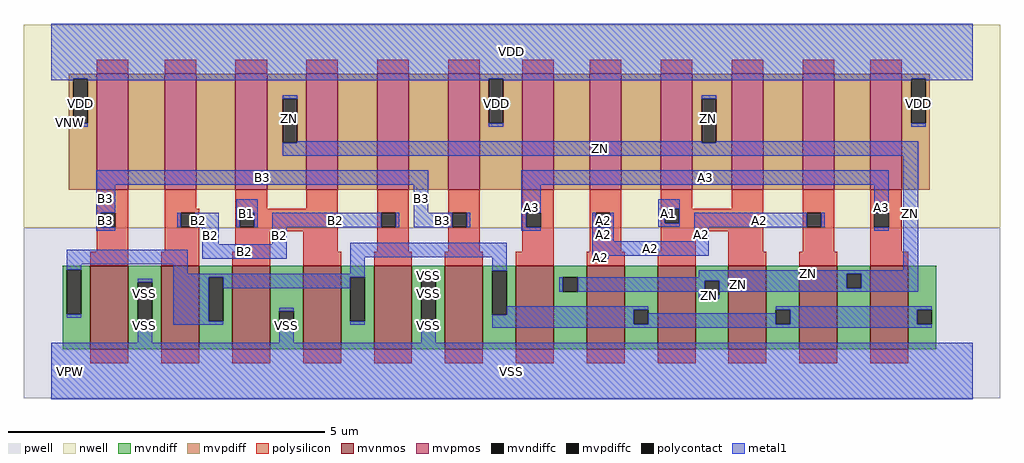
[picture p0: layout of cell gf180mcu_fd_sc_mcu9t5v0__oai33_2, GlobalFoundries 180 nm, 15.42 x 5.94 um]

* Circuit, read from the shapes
.subckt gf180mcu_fd_sc_mcu9t5v0__oai33_2 A1 A2 A3 B1 B2 B3 ZN VDD VNW VPW VSS
XM1 VSS B3 n1 VPW nfet_06v0 w=1.32u l=0.6u m=2
XM2 n1 B2 VSS VPW nfet_06v0 w=1.32u l=0.6u m=2
XM3 VSS B1 n1 VPW nfet_06v0 w=1.32u l=0.6u m=2
XM4 ZN A3 n1 VPW nfet_06v0 w=1.32u l=0.6u m=2
XM5 n1 A2 ZN VPW nfet_06v0 w=1.32u l=0.6u m=2
XM6 ZN A1 n1 VPW nfet_06v0 w=1.32u l=0.6u m=2
XM7 n2 B3 VDD VNW pfet_06v0 w=1.83u l=0.5u
XM8 n3 B2 n2 VNW pfet_06v0 w=1.83u l=0.5u
XM9 ZN B1 n3 VNW pfet_06v0 w=1.83u l=0.5u
XM10 n4 B1 ZN VNW pfet_06v0 w=1.83u l=0.5u
XM11 n5 B2 n4 VNW pfet_06v0 w=1.83u l=0.5u
XM12 VDD B3 n5 VNW pfet_06v0 w=1.83u l=0.5u
XM13 n6 A3 VDD VNW pfet_06v0 w=1.83u l=0.5u
XM14 n7 A2 n6 VNW pfet_06v0 w=1.83u l=0.5u
XM15 ZN A1 n7 VNW pfet_06v0 w=1.83u l=0.5u
XM16 n8 A1 ZN VNW pfet_06v0 w=1.83u l=0.5u
XM17 n9 A2 n8 VNW pfet_06v0 w=1.83u l=0.5u
XM18 VDD A3 n9 VNW pfet_06v0 w=1.83u l=0.5u
.ends

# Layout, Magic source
magic
tech gf180mcuD
magscale 1 10
<< nwell >>
rect -86 453 2998 1094
<< pwell >>
rect -86 -86 2998 453
<< mvnmos >>
rect 124 69 244 333
rect 348 69 468 333
rect 572 69 692 333
rect 796 69 916 333
rect 1020 69 1140 333
rect 1244 69 1364 333
rect 1468 69 1588 333
rect 1692 69 1812 333
rect 1916 69 2036 333
rect 2140 69 2260 333
rect 2364 69 2484 333
rect 2588 69 2708 333
<< mvpmos >>
rect 144 573 244 939
rect 358 573 458 939
rect 582 573 682 939
rect 806 573 906 939
rect 1030 573 1130 939
rect 1254 573 1354 939
rect 1488 573 1588 939
rect 1702 573 1802 939
rect 1926 573 2026 939
rect 2150 573 2250 939
rect 2374 573 2474 939
rect 2588 573 2688 939
<< mvndiff >>
rect 36 320 124 333
rect 36 180 49 320
rect 95 180 124 320
rect 36 69 124 180
rect 244 280 348 333
rect 244 140 273 280
rect 319 140 348 280
rect 244 69 348 140
rect 468 297 572 333
rect 468 157 497 297
rect 543 157 572 297
rect 468 69 572 157
rect 692 189 796 333
rect 692 143 721 189
rect 767 143 796 189
rect 692 69 796 143
rect 916 297 1020 333
rect 916 157 945 297
rect 991 157 1020 297
rect 916 69 1020 157
rect 1140 302 1244 333
rect 1140 162 1169 302
rect 1215 162 1244 302
rect 1140 69 1244 162
rect 1364 317 1468 333
rect 1364 177 1393 317
rect 1439 177 1468 317
rect 1364 69 1468 177
rect 1588 296 1692 333
rect 1588 250 1617 296
rect 1663 250 1692 296
rect 1588 69 1692 250
rect 1812 193 1916 333
rect 1812 147 1841 193
rect 1887 147 1916 193
rect 1812 69 1916 147
rect 2036 285 2140 333
rect 2036 239 2065 285
rect 2111 239 2140 285
rect 2036 69 2140 239
rect 2260 193 2364 333
rect 2260 147 2289 193
rect 2335 147 2364 193
rect 2260 69 2364 147
rect 2484 307 2588 333
rect 2484 261 2513 307
rect 2559 261 2588 307
rect 2484 69 2588 261
rect 2708 193 2796 333
rect 2708 147 2737 193
rect 2783 147 2796 193
rect 2708 69 2796 147
<< mvpdiff >>
rect 56 923 144 939
rect 56 783 69 923
rect 115 783 144 923
rect 56 573 144 783
rect 244 573 358 939
rect 458 573 582 939
rect 682 861 806 939
rect 682 721 731 861
rect 777 721 806 861
rect 682 573 806 721
rect 906 573 1030 939
rect 1130 573 1254 939
rect 1354 923 1488 939
rect 1354 783 1383 923
rect 1429 783 1488 923
rect 1354 573 1488 783
rect 1588 573 1702 939
rect 1802 573 1926 939
rect 2026 861 2150 939
rect 2026 721 2055 861
rect 2101 721 2150 861
rect 2026 573 2150 721
rect 2250 573 2374 939
rect 2474 573 2588 939
rect 2688 923 2776 939
rect 2688 783 2717 923
rect 2763 783 2776 923
rect 2688 573 2776 783
<< mvndiffc >>
rect 49 180 95 320
rect 273 140 319 280
rect 497 157 543 297
rect 721 143 767 189
rect 945 157 991 297
rect 1169 162 1215 302
rect 1393 177 1439 317
rect 1617 250 1663 296
rect 1841 147 1887 193
rect 2065 239 2111 285
rect 2289 147 2335 193
rect 2513 261 2559 307
rect 2737 147 2783 193
<< mvpdiffc >>
rect 69 783 115 923
rect 731 721 777 861
rect 1383 783 1429 923
rect 2055 721 2101 861
rect 2717 783 2763 923
<< polysilicon >>
rect 144 939 244 983
rect 358 939 458 983
rect 582 939 682 983
rect 806 939 906 983
rect 1030 939 1130 983
rect 1254 939 1354 983
rect 1488 939 1588 983
rect 1702 939 1802 983
rect 1926 939 2026 983
rect 2150 939 2250 983
rect 2374 939 2474 983
rect 2588 939 2688 983
rect 144 500 244 573
rect 144 454 157 500
rect 203 454 244 500
rect 144 377 244 454
rect 358 513 458 573
rect 582 513 682 573
rect 806 513 906 573
rect 358 500 468 513
rect 358 454 409 500
rect 455 454 468 500
rect 358 377 468 454
rect 582 500 906 513
rect 582 454 595 500
rect 641 454 906 500
rect 582 441 906 454
rect 582 377 692 441
rect 124 333 244 377
rect 348 333 468 377
rect 572 333 692 377
rect 796 377 906 441
rect 1030 500 1130 573
rect 1030 454 1043 500
rect 1089 454 1130 500
rect 1030 377 1130 454
rect 1254 500 1354 573
rect 1254 454 1267 500
rect 1313 454 1354 500
rect 1254 377 1354 454
rect 1488 500 1588 573
rect 1488 454 1501 500
rect 1547 454 1588 500
rect 1488 377 1588 454
rect 1702 500 1802 573
rect 1702 454 1721 500
rect 1767 454 1802 500
rect 1702 377 1802 454
rect 1926 513 2026 573
rect 2150 513 2250 573
rect 1926 467 1939 513
rect 1985 467 2250 513
rect 1926 441 2250 467
rect 1926 377 2036 441
rect 796 333 916 377
rect 1020 333 1140 377
rect 1244 333 1364 377
rect 1468 333 1588 377
rect 1692 333 1812 377
rect 1916 333 2036 377
rect 2140 377 2250 441
rect 2374 500 2474 573
rect 2374 454 2387 500
rect 2433 454 2474 500
rect 2374 377 2474 454
rect 2588 500 2688 573
rect 2588 454 2601 500
rect 2647 454 2688 500
rect 2588 377 2688 454
rect 2140 333 2260 377
rect 2364 333 2484 377
rect 2588 333 2708 377
rect 124 25 244 69
rect 348 25 468 69
rect 572 25 692 69
rect 796 25 916 69
rect 1020 25 1140 69
rect 1244 25 1364 69
rect 1468 25 1588 69
rect 1692 25 1812 69
rect 1916 25 2036 69
rect 2140 25 2260 69
rect 2364 25 2484 69
rect 2588 25 2708 69
<< polycontact >>
rect 157 454 203 500
rect 409 454 455 500
rect 595 454 641 500
rect 1043 454 1089 500
rect 1267 454 1313 500
rect 1501 454 1547 500
rect 1721 454 1767 500
rect 1939 467 1985 513
rect 2387 454 2433 500
rect 2601 454 2647 500
<< metal1 >>
rect 0 923 2912 1098
rect 0 918 69 923
rect 115 918 1383 923
rect 69 772 115 783
rect 731 861 777 872
rect 1429 918 2717 923
rect 1383 772 1429 783
rect 2055 861 2101 872
rect 777 721 2055 726
rect 2763 918 2912 923
rect 2717 772 2763 783
rect 2101 721 2739 726
rect 731 680 2739 721
rect 142 588 1192 634
rect 142 500 203 588
rect 584 500 652 542
rect 1146 500 1192 588
rect 1486 588 2647 634
rect 1486 500 1547 588
rect 1918 513 1986 542
rect 142 454 157 500
rect 398 454 409 500
rect 455 454 530 500
rect 584 454 595 500
rect 641 454 652 500
rect 698 454 1043 500
rect 1089 454 1100 500
rect 1146 454 1267 500
rect 1313 454 1324 500
rect 1486 454 1501 500
rect 142 443 203 454
rect 478 400 530 454
rect 698 400 744 454
rect 1486 443 1547 454
rect 1710 454 1721 500
rect 1767 454 1778 500
rect 1918 467 1939 513
rect 1985 467 1986 513
rect 2601 500 2647 588
rect 1918 456 1986 467
rect 1710 410 1778 454
rect 2032 454 2387 500
rect 2433 454 2444 500
rect 2032 410 2078 454
rect 2601 443 2647 454
rect 49 337 432 383
rect 478 354 744 400
rect 945 359 1439 405
rect 49 320 95 337
rect 386 308 432 337
rect 945 308 991 359
rect 1393 317 1439 359
rect 1710 364 2078 410
rect 1710 354 1762 364
rect 2693 318 2739 680
rect 386 297 991 308
rect 49 169 95 180
rect 273 280 319 291
rect 386 157 497 297
rect 543 262 945 297
rect 386 146 543 157
rect 721 189 767 200
rect 273 90 319 140
rect 945 146 991 157
rect 1169 302 1215 313
rect 721 90 767 143
rect 1169 90 1215 162
rect 2046 307 2739 318
rect 2046 296 2513 307
rect 1606 250 1617 296
rect 1663 285 2513 296
rect 1663 250 2065 285
rect 2046 239 2065 250
rect 2111 261 2513 285
rect 2559 261 2739 307
rect 2111 250 2739 261
rect 2046 228 2111 239
rect 1439 193 1887 204
rect 1439 177 1841 193
rect 1393 147 1841 177
rect 2289 193 2783 204
rect 1887 147 2289 182
rect 2335 147 2737 193
rect 1393 136 2783 147
rect 0 -90 2912 90
<< labels >>
flabel metal1 s 1918 456 1986 542 0 FreeSans 200 0 0 0 A1
port 1 nsew default input
flabel metal1 s 2032 454 2444 500 0 FreeSans 200 0 0 0 A2
port 2 nsew default input
flabel metal1 s 1486 588 2647 634 0 FreeSans 200 0 0 0 A3
port 3 nsew default input
flabel metal1 s 584 454 652 542 0 FreeSans 200 0 0 0 B1
port 4 nsew default input
flabel metal1 s 698 454 1100 500 0 FreeSans 200 0 0 0 B2
port 5 nsew default input
flabel metal1 s 142 588 1192 634 0 FreeSans 200 0 0 0 B3
port 6 nsew default input
flabel metal1 s 0 918 2912 1098 0 FreeSans 200 0 0 0 VDD
port 8 nsew power bidirectional abutment
flabel metal1 s 1169 291 1215 313 0 FreeSans 200 0 0 0 VSS
port 11 nsew ground bidirectional abutment
flabel metal1 s 2055 726 2101 872 0 FreeSans 200 0 0 0 ZN
port 7 nsew default output
flabel nwell s 10 734 110 834 0 FreeSans 400 0 0 0 VNW
port 9 nsew power bidirectional
flabel pwell s 10 -50 110 50 0 FreeSans 400 0 0 0 VPW
port 10 nsew ground bidirectional
rlabel metal1 s 1710 454 1778 500 1 A2
port 2 nsew default input
rlabel metal1 s 2032 410 2078 454 1 A2
port 2 nsew default input
rlabel metal1 s 1710 410 1778 454 1 A2
port 2 nsew default input
rlabel metal1 s 1710 364 2078 410 1 A2
port 2 nsew default input
rlabel metal1 s 1710 354 1762 364 1 A2
port 2 nsew default input
rlabel metal1 s 2601 443 2647 588 1 A3
port 3 nsew default input
rlabel metal1 s 1486 443 1547 588 1 A3
port 3 nsew default input
rlabel metal1 s 398 454 530 500 1 B2
port 5 nsew default input
rlabel metal1 s 698 400 744 454 1 B2
port 5 nsew default input
rlabel metal1 s 478 400 530 454 1 B2
port 5 nsew default input
rlabel metal1 s 478 354 744 400 1 B2
port 5 nsew default input
rlabel metal1 s 1146 500 1192 588 1 B3
port 6 nsew default input
rlabel metal1 s 142 500 203 588 1 B3
port 6 nsew default input
rlabel metal1 s 1146 454 1324 500 1 B3
port 6 nsew default input
rlabel metal1 s 142 454 203 500 1 B3
port 6 nsew default input
rlabel metal1 s 142 443 203 454 1 B3
port 6 nsew default input
rlabel metal1 s 731 726 777 872 1 ZN
port 7 nsew default output
rlabel metal1 s 731 680 2739 726 1 ZN
port 7 nsew default output
rlabel metal1 s 2693 318 2739 680 1 ZN
port 7 nsew default output
rlabel metal1 s 2046 296 2739 318 1 ZN
port 7 nsew default output
rlabel metal1 s 1606 250 2739 296 1 ZN
port 7 nsew default output
rlabel metal1 s 2046 228 2111 250 1 ZN
port 7 nsew default output
rlabel metal1 s 2717 772 2763 918 1 VDD
port 8 nsew power bidirectional abutment
rlabel metal1 s 1383 772 1429 918 1 VDD
port 8 nsew power bidirectional abutment
rlabel metal1 s 69 772 115 918 1 VDD
port 8 nsew power bidirectional abutment
rlabel metal1 s 1169 200 1215 291 1 VSS
port 11 nsew ground bidirectional abutment
rlabel metal1 s 273 200 319 291 1 VSS
port 11 nsew ground bidirectional abutment
rlabel metal1 s 1169 90 1215 200 1 VSS
port 11 nsew ground bidirectional abutment
rlabel metal1 s 721 90 767 200 1 VSS
port 11 nsew ground bidirectional abutment
rlabel metal1 s 273 90 319 200 1 VSS
port 11 nsew ground bidirectional abutment
rlabel metal1 s 0 -90 2912 90 1 VSS
port 11 nsew ground bidirectional abutment
<< properties >>
string FIXED_BBOX 0 0 2912 1008
string GDS_END 193220
string GDS_FILE $PDKPATH/libs.ref/gf180mcu_fd_sc_mcu9t5v0/gds/gf180mcu_fd_sc_mcu9t5v0.gds
string GDS_START 186744
string LEFclass core
string LEFsite GF018hv5v_green_sc9
string LEFsymmetry X Y
<< end >>
